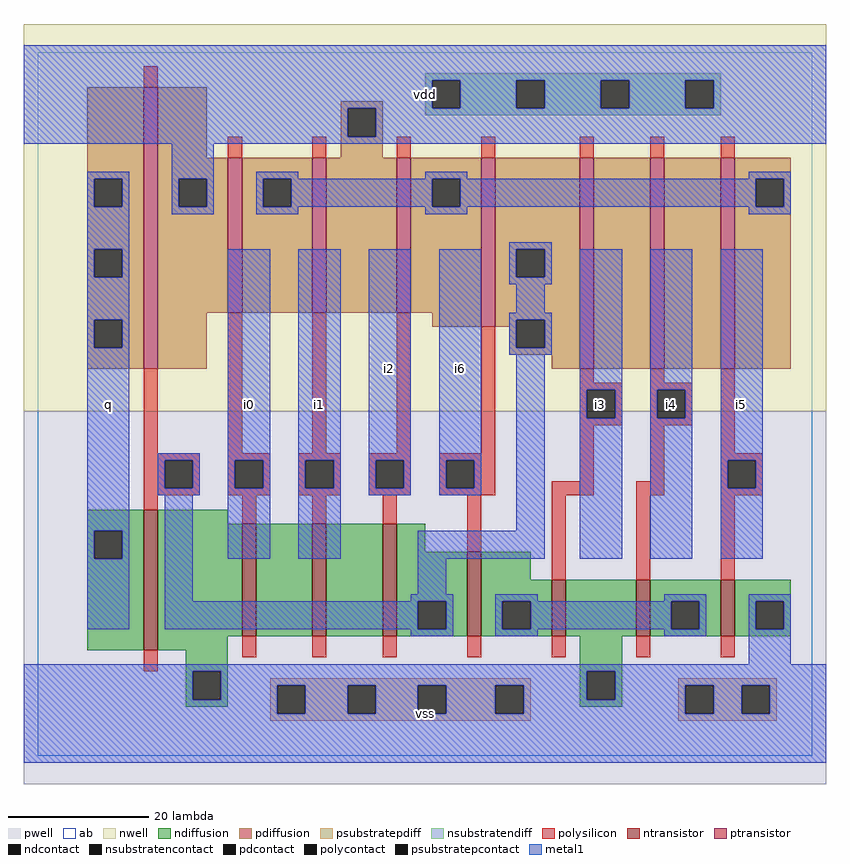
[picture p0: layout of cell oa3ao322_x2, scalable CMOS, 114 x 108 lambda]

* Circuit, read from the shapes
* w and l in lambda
.subckt oa3ao322_x2 i0 i1 i2 i3 i4 i5 i6 q vdd vss
M1 vss n1 q vss nfet w=20 l=2
M2 n2 i0 vss vss nfet w=16 l=2
M3 n3 i1 n2 vss nfet w=16 l=2
M4 n1 i2 n3 vss nfet w=16 l=2
M5 n4 i6 n1 vss nfet w=12 l=2
M6 vss i3 n4 vss nfet w=8 l=2
M7 n4 i4 vss vss nfet w=8 l=2
M8 vss i5 n4 vss nfet w=8 l=2
M9 vdd n1 q vdd pfet w=40 l=2
M10 n5 i0 vdd vdd pfet w=22 l=2
M11 vdd i1 n5 vdd pfet w=22 l=2
M12 n5 i2 vdd vdd pfet w=22 l=2
M13 n1 i6 n5 vdd pfet w=24 l=2
M14 n6 i3 n1 vdd pfet w=30 l=2
M15 n7 i4 n6 vdd pfet w=30 l=2
M16 n5 i5 n7 vdd pfet w=30 l=2
.ends

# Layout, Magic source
magic
tech scmos
<< ab >>
rect 0 0 110 100
<< pwell >>
rect -2 -4 112 49
<< nwell >>
rect -2 49 112 104
<< polysilicon >>
rect 15 95 17 98
rect 27 85 29 88
rect 39 85 41 88
rect 51 85 53 88
rect 63 85 65 88
rect 77 85 79 88
rect 87 85 89 88
rect 97 85 99 88
rect 15 43 17 55
rect 27 43 29 63
rect 39 43 41 63
rect 51 43 53 63
rect 63 43 65 61
rect 15 42 23 43
rect 15 38 18 42
rect 22 38 23 42
rect 15 37 23 38
rect 27 42 33 43
rect 27 38 28 42
rect 32 38 33 42
rect 27 37 33 38
rect 37 42 43 43
rect 37 38 38 42
rect 42 38 43 42
rect 37 37 43 38
rect 47 42 53 43
rect 47 38 48 42
rect 52 38 53 42
rect 47 37 53 38
rect 57 42 65 43
rect 57 38 58 42
rect 62 38 65 42
rect 77 53 79 55
rect 87 53 89 55
rect 77 52 83 53
rect 77 48 78 52
rect 82 48 83 52
rect 77 47 83 48
rect 87 52 93 53
rect 87 48 88 52
rect 92 48 93 52
rect 87 47 93 48
rect 77 39 79 47
rect 87 39 89 47
rect 57 37 65 38
rect 73 37 79 39
rect 85 37 89 39
rect 97 43 99 55
rect 97 42 103 43
rect 97 38 98 42
rect 102 38 103 42
rect 97 37 103 38
rect 15 35 17 37
rect 29 33 31 37
rect 39 33 41 37
rect 49 33 51 37
rect 61 29 63 37
rect 73 25 75 37
rect 85 25 87 37
rect 97 25 99 37
rect 15 12 17 15
rect 29 14 31 17
rect 39 14 41 17
rect 49 14 51 17
rect 61 14 63 17
rect 73 14 75 17
rect 85 14 87 17
rect 97 14 99 17
<< ndiffusion >>
rect 7 32 15 35
rect 7 28 8 32
rect 12 28 15 32
rect 7 15 15 28
rect 17 33 27 35
rect 17 17 29 33
rect 31 17 39 33
rect 41 17 49 33
rect 51 29 55 33
rect 51 22 61 29
rect 51 18 54 22
rect 58 18 61 22
rect 51 17 61 18
rect 63 25 70 29
rect 63 22 73 25
rect 63 18 66 22
rect 70 18 73 22
rect 63 17 73 18
rect 75 17 85 25
rect 87 22 97 25
rect 87 18 90 22
rect 94 18 97 22
rect 87 17 97 18
rect 99 22 107 25
rect 99 18 102 22
rect 106 18 107 22
rect 99 17 107 18
rect 17 15 27 17
rect 21 12 27 15
rect 21 8 22 12
rect 26 8 27 12
rect 77 12 83 17
rect 21 7 27 8
rect 77 8 78 12
rect 82 8 83 12
rect 77 7 83 8
<< pdiffusion >>
rect 7 82 15 95
rect 7 78 8 82
rect 12 78 15 82
rect 7 72 15 78
rect 7 68 8 72
rect 12 68 15 72
rect 7 62 15 68
rect 7 58 8 62
rect 12 58 15 62
rect 7 55 15 58
rect 17 85 24 95
rect 43 92 49 93
rect 43 88 44 92
rect 48 88 49 92
rect 43 85 49 88
rect 17 82 27 85
rect 17 78 20 82
rect 24 78 27 82
rect 17 63 27 78
rect 29 82 39 85
rect 29 78 32 82
rect 36 78 39 82
rect 29 63 39 78
rect 41 63 51 85
rect 53 82 63 85
rect 53 78 56 82
rect 60 78 63 82
rect 53 63 63 78
rect 17 55 24 63
rect 56 61 63 63
rect 65 72 77 85
rect 65 68 68 72
rect 72 68 77 72
rect 65 62 77 68
rect 65 61 68 62
rect 67 58 68 61
rect 72 58 77 62
rect 67 57 77 58
rect 73 55 77 57
rect 79 55 87 85
rect 89 55 97 85
rect 99 82 107 85
rect 99 78 102 82
rect 106 78 107 82
rect 99 55 107 78
<< metal1 >>
rect -2 96 112 101
rect -2 92 56 96
rect 60 92 68 96
rect 72 92 80 96
rect 84 92 92 96
rect 96 92 112 96
rect -2 88 44 92
rect 48 88 112 92
rect -2 87 112 88
rect 7 82 13 83
rect 7 78 8 82
rect 12 78 13 82
rect 7 72 13 78
rect 19 82 25 87
rect 19 78 20 82
rect 24 78 25 82
rect 19 77 25 78
rect 31 82 37 83
rect 55 82 61 83
rect 101 82 107 83
rect 31 78 32 82
rect 36 78 56 82
rect 60 78 102 82
rect 106 78 107 82
rect 31 77 37 78
rect 55 77 61 78
rect 101 77 107 78
rect 67 72 73 73
rect 7 68 8 72
rect 12 68 13 72
rect 7 62 13 68
rect 7 58 8 62
rect 12 58 13 62
rect 7 32 13 58
rect 17 42 23 43
rect 17 38 18 42
rect 22 38 23 42
rect 17 37 23 38
rect 27 42 33 72
rect 27 38 28 42
rect 32 38 33 42
rect 7 28 8 32
rect 12 28 13 32
rect 7 18 13 28
rect 18 22 22 37
rect 27 28 33 38
rect 37 42 43 72
rect 37 38 38 42
rect 42 38 43 42
rect 37 28 43 38
rect 47 42 53 72
rect 47 38 48 42
rect 52 38 53 42
rect 47 37 53 38
rect 57 42 63 72
rect 67 68 68 72
rect 72 68 73 72
rect 67 67 73 68
rect 68 63 72 67
rect 67 62 73 63
rect 67 58 68 62
rect 72 58 73 62
rect 67 57 73 58
rect 57 38 58 42
rect 62 38 63 42
rect 57 37 63 38
rect 68 32 72 57
rect 54 28 72 32
rect 77 52 83 72
rect 77 48 78 52
rect 82 48 83 52
rect 77 28 83 48
rect 87 52 93 72
rect 87 48 88 52
rect 92 48 93 52
rect 87 28 93 48
rect 97 42 103 72
rect 97 38 98 42
rect 102 38 103 42
rect 97 28 103 38
rect 54 23 58 28
rect 53 22 59 23
rect 18 18 54 22
rect 58 18 59 22
rect 53 17 59 18
rect 65 22 71 23
rect 89 22 95 23
rect 65 18 66 22
rect 70 18 90 22
rect 94 18 95 22
rect 65 17 71 18
rect 89 17 95 18
rect 101 22 107 23
rect 101 18 102 22
rect 106 18 107 22
rect 101 13 107 18
rect -2 12 112 13
rect -2 8 22 12
rect 26 10 78 12
rect 26 8 34 10
rect -2 6 34 8
rect 38 6 44 10
rect 48 6 54 10
rect 58 6 65 10
rect 69 8 78 10
rect 82 10 112 12
rect 82 8 92 10
rect 69 6 92 8
rect 96 6 100 10
rect 104 6 112 10
rect -2 -1 112 6
<< ntransistor >>
rect 15 15 17 35
rect 29 17 31 33
rect 39 17 41 33
rect 49 17 51 33
rect 61 17 63 29
rect 73 17 75 25
rect 85 17 87 25
rect 97 17 99 25
<< ptransistor >>
rect 15 55 17 95
rect 27 63 29 85
rect 39 63 41 85
rect 51 63 53 85
rect 63 61 65 85
rect 77 55 79 85
rect 87 55 89 85
rect 97 55 99 85
<< polycontact >>
rect 18 38 22 42
rect 28 38 32 42
rect 38 38 42 42
rect 48 38 52 42
rect 58 38 62 42
rect 78 48 82 52
rect 88 48 92 52
rect 98 38 102 42
<< ndcontact >>
rect 8 28 12 32
rect 54 18 58 22
rect 66 18 70 22
rect 90 18 94 22
rect 102 18 106 22
rect 22 8 26 12
rect 78 8 82 12
<< pdcontact >>
rect 8 78 12 82
rect 8 68 12 72
rect 8 58 12 62
rect 44 88 48 92
rect 20 78 24 82
rect 32 78 36 82
rect 56 78 60 82
rect 68 68 72 72
rect 68 58 72 62
rect 102 78 106 82
<< psubstratepcontact >>
rect 34 6 38 10
rect 44 6 48 10
rect 54 6 58 10
rect 65 6 69 10
rect 92 6 96 10
rect 100 6 104 10
<< nsubstratencontact >>
rect 56 92 60 96
rect 68 92 72 96
rect 80 92 84 96
rect 92 92 96 96
<< psubstratepdiff >>
rect 33 10 70 11
rect 33 6 34 10
rect 38 6 44 10
rect 48 6 54 10
rect 58 6 65 10
rect 69 6 70 10
rect 91 10 105 11
rect 33 5 70 6
rect 91 6 92 10
rect 96 6 100 10
rect 104 6 105 10
rect 91 5 105 6
<< nsubstratendiff >>
rect 55 96 97 97
rect 55 92 56 96
rect 60 92 68 96
rect 72 92 80 96
rect 84 92 92 96
rect 96 92 97 96
rect 55 91 97 92
<< labels >>
rlabel metal1 10 50 10 50 6 q
rlabel metal1 10 50 10 50 6 q
rlabel metal1 40 50 40 50 6 i1
rlabel metal1 30 50 30 50 6 i0
rlabel metal1 40 50 40 50 6 i1
rlabel metal1 30 50 30 50 6 i0
rlabel metal1 55 6 55 6 6 vss
rlabel metal1 55 6 55 6 6 vss
rlabel metal1 50 55 50 55 6 i2
rlabel metal1 60 55 60 55 6 i6
rlabel metal1 60 55 60 55 6 i6
rlabel metal1 50 55 50 55 6 i2
rlabel metal1 55 94 55 94 6 vdd
rlabel metal1 55 94 55 94 6 vdd
rlabel polycontact 80 50 80 50 6 i3
rlabel polycontact 80 50 80 50 6 i3
rlabel polycontact 90 50 90 50 6 i4
rlabel polycontact 90 50 90 50 6 i4
rlabel metal1 100 50 100 50 6 i5
rlabel metal1 100 50 100 50 6 i5
<< end >>
